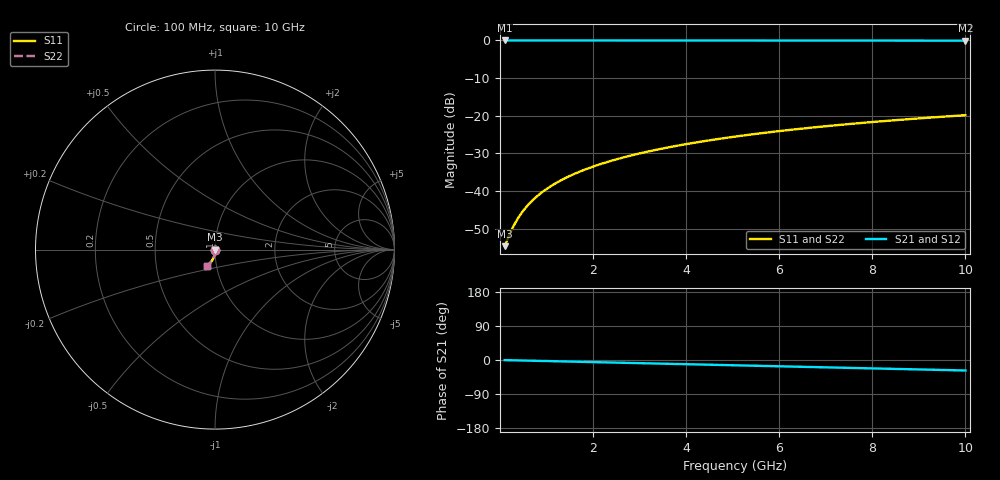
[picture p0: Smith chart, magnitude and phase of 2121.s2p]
# Hz S RI R 50.00
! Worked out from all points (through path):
!   100 points, 100 MHz to 10 GHz, reference 50 ohm
!   highest |S21| = -0.01 dB at 100 MHz (marker M1); lowest = -0.1 dB at 10 GHz (marker M2)
!   group delay of S21, straight-line fit = 7.69 ps
!   lowest |S11| = -54.6 dB at 100 MHz (marker M3), VSWR 1.00, Z = 50.2 - j0.107 ohm
!   |S11| at or under -10 dB: start of sweep to end of sweep
!   |S22| runs from -54.6 to -19.8 dB; largest |S21 - S12| = 0
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1e8  0.00153 -0.00106  0.9984 -0.00482  0.9984 -0.00482  0.00153 -0.00106
2e8  0.00152 -0.00213  0.9984 -0.00964  0.9984 -0.00964  0.00152 -0.00213
3e8  0.0015 -0.00319  0.9983 -0.0145  0.9983 -0.0145  0.0015 -0.00319
4e8  0.00147 -0.00425  0.9982 -0.0193  0.9982 -0.0193  0.00147 -0.00425
5e8  0.00142 -0.00532  0.9981 -0.0241  0.9981 -0.0241  0.00142 -0.00532
6e8  0.00137 -0.00638  0.998 -0.0289  0.998 -0.0289  0.00137 -0.00638
7e8  0.00131 -0.00744  0.9978 -0.0337  0.9978 -0.0337  0.00131 -0.00744
9e8  0.00114 -0.00956  0.9974 -0.0434  0.9974 -0.0434  0.00114 -0.00956
1e9  0.00105 -0.0106  0.9972 -0.0482  0.9972 -0.0482  0.00105 -0.0106
1.2e9  0.000824 -0.0127  0.9966 -0.0578  0.9966 -0.0578  0.000824 -0.0127
1.5e9  0.00041 -0.0159  0.9956 -0.0723  0.9956 -0.0723  0.00041 -0.0159
1.8e9  -9.53e-05 -0.0191  0.9944 -0.0867  0.9944 -0.0867  -9.53e-05 -0.0191
2.1e9  -0.000692 -0.0222  0.9929 -0.1011  0.9929 -0.1011  -0.000692 -0.0222
2.5e9  -0.00163 -0.0263  0.9907 -0.1202  0.9907 -0.1202  -0.00163 -0.0263
2.9e9  -0.00273 -0.0305  0.988 -0.1393  0.988 -0.1393  -0.00273 -0.0305
3.4e9  -0.00432 -0.0355  0.9842 -0.1631  0.9842 -0.1631  -0.00432 -0.0355
4.2e9  -0.00738 -0.0435  0.9768 -0.201  0.9768 -0.201  -0.00738 -0.0435
5.1e9  -0.0115 -0.0522  0.9666 -0.2431  0.9666 -0.2431  -0.0115 -0.0522
5.9e9  -0.0158 -0.0595  0.956 -0.2801  0.956 -0.2801  -0.0158 -0.0595
6.7e9  -0.0207 -0.0665  0.9439 -0.3167  0.9439 -0.3167  -0.0207 -0.0665
8.4e9  -0.0328 -0.0801  0.9135 -0.3924  0.9135 -0.3924  -0.0328 -0.0801
1e10  -0.0459 -0.0908  0.8792 -0.4609  0.8792 -0.4609  -0.0459 -0.0908
